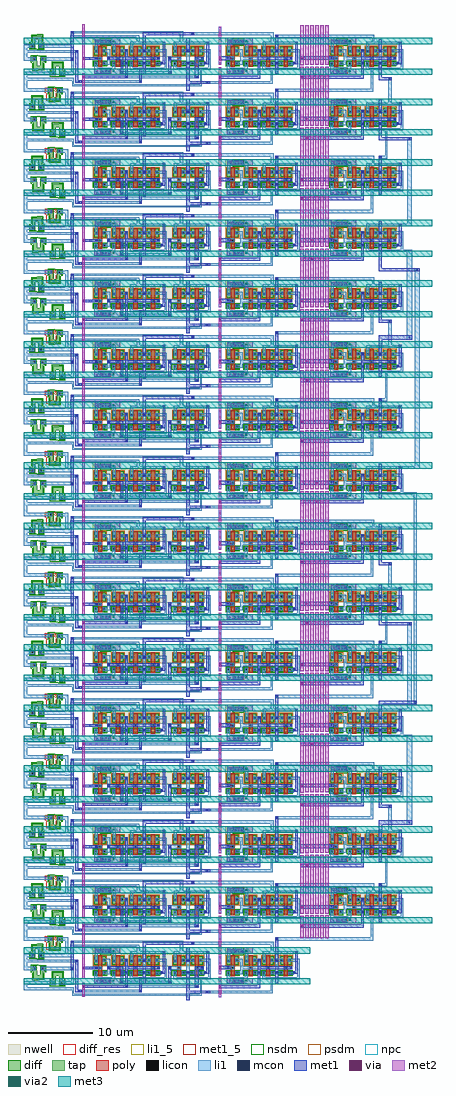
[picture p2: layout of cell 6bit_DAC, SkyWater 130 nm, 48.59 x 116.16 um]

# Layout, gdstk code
from math import pi, radians
import gdstk
lib = gdstk.Library(unit=1e-6, precision=1e-09)
def R(c, l, rs):  # rectangles x0, y0, x1, y1
    for r in rs: c.add(gdstk.rectangle(r[:2], r[2:], *l))
def A(c, l, x, y, w, h, nx, ny, dx, dy):  # array of equal rectangles
    R(c, l, [(x+i*dx, y+j*dy, x+i*dx+w, y+j*dy+h) for i in range(nx) for j in range(ny)])
nwell = (64, 20)
diff_res = (65, 13)
diff = (65, 20)
tap = (65, 44)
poly = (66, 20)
licon = (66, 44)
li1_5 = (67, 5)
li1 = (67, 20)
mcon = (67, 44)
met1_5 = (68, 5)
met1 = (68, 20)
via = (68, 44)
met2 = (69, 20)
via2 = (69, 44)
met3 = (70, 20)
nsdm = (93, 44)
psdm = (94, 20)
npc = (95, 20)

switchn = lib.new_cell('switchn')
R(switchn, nwell, [(-0.19,0,7.92,1.5), (-0.19,1.5,3.08,2.24)])
R(switchn, diff, [(-0.04,-1.01,1.39,-0.59), (2.09,-1.01,3.52,-0.59), (4.17,-1.01,5.6,-0.59), (6.3,-1.01,7.73,-0.59), (0.01,0.18,1.37,1.18), (2.14,0.18,3.5,1.18), (4.22,0.18,5.58,1.18), (6.32,0.18,7.68,0.87), (6.32,0.87,7.69,1.18)])
R(switchn, tap, [(0.81,-2.01,1.92,-1.42), (0.82,1.46,1.92,2.05)])
A(switchn, poly, 2.58, -1.17, 0.5, 2.48, 3, 1, 2.08, 0)
R(switchn, poly, [(0.45,-1.17,0.95,1.31)])
R(switchn, licon, [(1.275,-1.795,1.445,-1.625), (0.085,-0.875,0.255,-0.705), (2.215,-0.875,2.385,-0.705), (4.295,-0.875,4.465,-0.705), (7.435,-0.875,7.605,-0.705), (1.115,-0.835,1.285,-0.665), (3.245,-0.835,3.415,-0.665), (5.325,-0.835,5.495,-0.665), (6.405,-0.835,6.575,-0.665), (2.725,-0.315,2.895,-0.145), (6.965,-0.295,7.135,-0.125), (0.595,-0.285,0.765,-0.115), (4.815,-0.265,4.985,-0.095), (0.145,0.615,0.315,0.785), (1.105,0.615,1.275,0.785), (2.275,0.615,2.445,0.785), (3.235,0.615,3.405,0.785), (4.355,0.615,4.525,0.785), (5.315,0.615,5.485,0.785), (6.415,0.615,6.585,0.785), (7.375,0.615,7.545,0.785), (1.3,1.655,1.47,1.825)])
R(switchn, li1_5, [(5.79,-1.48,6.18,-1.45), (5.83,0.07,6.05,0.22), (5.77,1.64,6.16,1.67)])
R(switchn, li1, [(0.81,-2.01,1.92,-1.5), (4.2,-1.55,8.64,-1.29), (8.37,-1.55,8.64,0.51), (-0.01,-1.5,0.36,-0.97), (-0.01,-1.5,2.49,-1.28), (4.2,-1.29,4.57,-0.97), (2.12,-1.28,2.49,-0.97), (7.33,-1.01,7.97,-0.88), (-0.02,-0.97,0.36,-0.6), (2.11,-0.97,2.49,-0.6), (4.19,-0.97,4.57,-0.6), (1.02,-0.93,1.87,-0.59), (3.15,-0.93,3.99,-0.59), (5.23,-0.93,6.67,-0.59), (5.77,-0.93,6.13,0.9), (7.33,-0.88,8.2,-0.63), (-0.01,-0.6,0.36,-0.59), (2.12,-0.6,2.49,-0.59), (1.56,-0.59,1.87,-0.38), (-0.145,-0.385,0.89,0.055), (1.56,-0.38,5.15,-0.02), (6.8,-0.38,7.8,-0.01), (1.56,-0.02,1.87,0.51), (0.04,0.5,0.41,1.59), (2.17,0.5,2.54,1.59), (4.25,0.5,4.62,1.76), (1,0.51,1.87,0.9), (5.21,0.51,6.69,0.9), (7.27,0.51,8.65,0.87), (3.13,0.53,4,0.9), (0.82,1.46,1.92,1.59), (4.25,1.51,8.46,1.76), (0.04,1.59,2.54,1.83), (0.82,1.83,1.92,2.05)])
R(switchn, mcon, [(0.9,-1.825,1.07,-1.655), (1.67,-1.825,1.84,-1.655), (3.74,-0.845,3.91,-0.675), (5.85,-0.845,6.02,-0.675), (7.985,-0.815,8.155,-0.645), (7.515,-0.255,7.685,-0.085), (0.025,-0.23,0.195,-0.06), (5.875,0.63,6.045,0.8), (3.76,0.645,3.93,0.815), (8.195,1.575,8.365,1.745), (0.92,1.66,1.09,1.83), (1.65,1.675,1.82,1.845)])
R(switchn, met1_5, [(1.19,-1.98,1.53,-1.92), (1.22,1.95,1.5,2)])
R(switchn, met1, [(-3.6,-2.635,3.985,-2.25), (3.67,-2.635,3.985,-0.36), (-0.01,-2.01,1.92,-1.42), (5.77,-2,6.13,-0.59), (3.67,-0.93,3.99,-0.38), (7.9,-0.9,8.46,-0.58), (8.12,-0.58,8.46,1.48), (-3.6,-0.385,0.42,0.055), (3.67,-0.38,7.79,-0.02), (3.67,-0.02,4,0.9), (7.37,-0.02,7.77,-0.01), (5.77,0.515,6.13,2.085), (0.04,1.46,1.92,2.05), (8.12,1.48,8.46,1.81)])
R(switchn, via, [(0.25,-1.83,0.4,-1.68), (0.37,1.7,0.52,1.85)])
A(switchn, met2, -2.4, -0.96, 0.4, 4.73, 4, 1, 0.6, 0)
R(switchn, met2, [(-3.6,-3.9,-3.2,-1.21), (-3,-3.9,-2.6,-1.19), (-2.4,-3.9,-2,-1.19), (-1.8,-3.9,-1.4,-1.185), (-1.2,-3.9,-0.8,-1.175), (-0.6,-3.9,-0.2,-1.165), (-0.01,-2.135,3.08,-1.42), (-3.6,-0.99,-3.2,3.77), (-3,-0.975,-2.6,3.77), (0.04,1.46,3.08,2.24)])
R(switchn, via2, [(2.205,-1.805,2.405,-1.605), (2.205,1.735,2.405,1.935)])
R(switchn, met3, [(-4,-2.135,12.1,-1.42), (-4,1.465,12.1,2.235)])
R(switchn, nsdm, [(-0.165,-1.135,1.515,-0.465), (1.965,-1.135,3.645,-0.465), (4.045,-1.135,5.725,-0.465), (6.175,-1.135,7.855,-0.465), (0.695,1.335,2.045,2.175)])
R(switchn, psdm, [(0.685,-2.135,2.045,-1.295), (-0.115,0.055,1.495,1.305), (2.015,0.055,3.625,1.305), (4.095,0.055,5.705,1.305), (6.195,0.055,7.805,0.745), (6.195,0.745,7.815,1.305)])
R(switchn, npc, [(2.625,-0.415,2.995,-0.045), (6.865,-0.395,7.235,-0.025), (0.495,-0.385,0.865,-0.015), (4.715,-0.365,5.085,0.005)])
switchn.add(gdstk.Label('vrefh', (5.965,1.655), layer=67, texttype=5))
switchn.add(gdstk.Label('vrefl', (5.985,-1.465), layer=67, texttype=5))
switchn.add(gdstk.Label('vout', (5.94,0.145), layer=67, texttype=5))
switchn.add(gdstk.Label('Vout', (5.925,-2.202), layer=68, texttype=5))
switchn.add(gdstk.Label('Vout', (5.839,2.084), layer=68, texttype=5))
switchn.add(gdstk.Label('vdd', (1.36,1.975), layer=68, texttype=5))
switchn.add(gdstk.Label('gnd', (1.36,-1.95), layer=68, texttype=5))
switchn.add(gdstk.Label('D2', (-3.498,3.7), layer=69, texttype=5))
switchn.add(gdstk.Label('D3', (-2.814,3.72), layer=69, texttype=5))
switchn.add(gdstk.Label('D4', (-2.276,3.725), layer=69, texttype=5))
switchn.add(gdstk.Label('D5', (-1.617,3.745), layer=69, texttype=5))
switchn.add(gdstk.Label('D6', (-1.085,3.73), layer=69, texttype=5))
switchn.add(gdstk.Label('D7', (-0.441,3.735), layer=69, texttype=5))

resistor_h = lib.new_cell('resistor_h')
R(resistor_h, diff_res, [(-9.935,-1.15,-9.895,0.41), (-9.895,-1.15,-9.715,0.03), (-9.715,-1.15,-9.505,0.41), (-9.505,-1.15,-9.495,-0.15), (-9.495,-1.14,-9.135,-0.72), (-9.135,-1.14,-8.905,0.37), (-8.905,-1.14,-8.755,0.01), (-10.095,-0.2,-9.935,0.41), (-8.755,-0.2,-8.725,0.01), (-8.725,-0.2,-8.535,0.37), (-8.905,0.19,-8.725,0.37), (-9.895,0.21,-9.715,0.41)])
R(resistor_h, diff, [(-9.48,-1.175,-9.05,0.385), (-9.05,-1.175,-9.04,-0.175), (-9.04,-1.165,-8.68,-0.745), (-8.68,-1.165,-8.3,0.345), (-9.64,-0.225,-9.48,0.385), (-8.3,-0.225,-8.08,0.345)])
R(resistor_h, licon, [(-8.445,-0.01,-8.275,0.16), (-9.435,0.01,-9.265,0.18)])
R(resistor_h, li1, [(-7.66,-2.09,-7.32,0.305), (-8.55,-0.105,-7.31,0.295), (-12.585,-0.08,-9.205,0.32), (-12.585,-0.08,-12.16,1.59)])
R(resistor_h, nsdm, [(-9.605,-1.3,-8.925,0.51), (-8.925,-1.3,-8.915,0.47), (-8.915,-1.29,-8.175,0.47), (-9.765,-0.35,-9.605,0.51), (-8.175,-0.35,-7.955,0.47)])
resistor_h.add(gdstk.Label('b', (-8.34,0.075), layer=67, texttype=5))
resistor_h.add(gdstk.Label('a', (-9.36,0.095), layer=67, texttype=5))

switch2n = lib.new_cell('switch2n')
R(switch2n, nwell, [(-0.19,0,13.12,1.5), (-0.19,1.5,3.08,2.24)])
R(switch2n, diff, [(-0.04,-1.01,1.39,-0.59), (2.09,-1.01,3.52,-0.59), (4.17,-1.01,5.6,-0.59), (4.17,-1.01,5.6,-0.59), (6.3,-1.01,7.73,-0.59), (6.3,-1.01,7.73,-0.59), (9.37,-1.01,10.8,-0.59), (9.37,-1.01,10.8,-0.59), (11.5,-1.01,12.93,-0.59), (11.5,-1.01,12.93,-0.59), (0.01,0.18,1.37,1.18), (2.14,0.18,3.5,1.18), (4.22,0.18,5.58,1.18), (4.22,0.18,5.58,1.18), (6.32,0.18,7.68,0.87), (6.32,0.18,7.68,0.87), (9.42,0.18,10.78,1.18), (9.42,0.18,10.78,1.18), (11.52,0.18,12.88,0.87), (11.52,0.18,12.88,0.87), (6.32,0.87,7.69,1.18), (6.32,0.87,7.69,1.18), (11.52,0.87,12.89,1.18), (11.52,0.87,12.89,1.18)])
R(switch2n, tap, [(0.81,-2.01,1.92,-1.42), (0.82,1.46,1.92,2.05)])
R(switch2n, poly, [(0.45,-1.17,0.95,1.31), (2.58,-1.17,3.08,1.31), (4.66,-1.17,5.16,1.31), (4.66,-1.17,5.16,1.31), (6.74,-1.17,7.24,1.31), (6.74,-1.17,7.24,1.31), (9.86,-1.17,10.36,1.31), (9.86,-1.17,10.36,1.31), (11.94,-1.17,12.44,1.31), (11.94,-1.17,12.44,1.31)])
R(switch2n, licon, [(1.275,-1.795,1.445,-1.625), (0.085,-0.875,0.255,-0.705), (2.215,-0.875,2.385,-0.705), (4.295,-0.875,4.465,-0.705), (4.295,-0.875,4.465,-0.705), (7.435,-0.875,7.605,-0.705), (7.435,-0.875,7.605,-0.705), (9.495,-0.875,9.665,-0.705), (9.495,-0.875,9.665,-0.705), (12.635,-0.875,12.805,-0.705), (12.635,-0.875,12.805,-0.705), (1.115,-0.835,1.285,-0.665), (3.245,-0.835,3.415,-0.665), (5.325,-0.835,5.495,-0.665), (5.325,-0.835,5.495,-0.665), (6.405,-0.835,6.575,-0.665), (6.405,-0.835,6.575,-0.665), (10.525,-0.835,10.695,-0.665), (10.525,-0.835,10.695,-0.665), (11.605,-0.835,11.775,-0.665), (11.605,-0.835,11.775,-0.665), (2.725,-0.315,2.895,-0.145), (6.965,-0.295,7.135,-0.125), (6.965,-0.295,7.135,-0.125), (12.165,-0.295,12.335,-0.125), (12.165,-0.295,12.335,-0.125), (0.595,-0.285,0.765,-0.115), (4.815,-0.265,4.985,-0.095), (4.815,-0.265,4.985,-0.095), (10.015,-0.265,10.185,-0.095), (10.015,-0.265,10.185,-0.095), (0.145,0.615,0.315,0.785), (1.105,0.615,1.275,0.785), (2.275,0.615,2.445,0.785), (3.235,0.615,3.405,0.785), (4.355,0.615,4.525,0.785), (4.355,0.615,4.525,0.785), (5.315,0.615,5.485,0.785), (5.315,0.615,5.485,0.785), (6.415,0.615,6.585,0.785), (6.415,0.615,6.585,0.785), (7.375,0.615,7.545,0.785), (7.375,0.615,7.545,0.785), (9.555,0.615,9.725,0.785), (9.555,0.615,9.725,0.785), (10.515,0.615,10.685,0.785), (10.515,0.615,10.685,0.785), (11.615,0.615,11.785,0.785), (11.615,0.615,11.785,0.785), (12.575,0.615,12.745,0.785), (12.575,0.615,12.745,0.785), (1.3,1.66,1.47,1.83)])
R(switch2n, li1_5, [(6.215,-1.48,6.605,-1.45), (6.215,-1.48,6.605,-1.45), (11.415,-1.48,11.805,-1.45), (11.415,-1.48,11.805,-1.45), (5.83,0.07,6.05,0.22), (5.83,0.07,6.05,0.22), (11.03,0.07,11.25,0.22), (11.03,0.07,11.25,0.22), (5.77,1.64,6.16,1.67), (5.77,1.64,6.16,1.67), (10.97,1.64,11.36,1.67), (10.97,1.64,11.36,1.67)])
R(switch2n, li1, [(3.68,-2.585,12.435,-2.235), (0.81,-2.01,1.92,-1.5), (4.2,-1.55,8.64,-1.29), (4.2,-1.55,8.64,-1.29), (8.37,-1.55,8.64,0.51), (8.37,-1.55,8.64,0.51), (9.4,-1.55,13.84,-1.29), (9.4,-1.55,13.84,-1.29), (13.57,-1.55,13.84,0.51), (13.57,-1.55,13.84,0.51), (-0.01,-1.5,0.36,-0.97), (-0.01,-1.5,2.49,-1.28), (4.2,-1.29,4.57,-0.97), (4.2,-1.29,4.57,-0.97), (9.4,-1.29,9.77,-0.97), (9.4,-1.29,9.77,-0.97), (2.12,-1.28,2.49,-0.97), (7.33,-1.01,7.97,-0.88), (7.33,-1.01,7.97,-0.88), (12.53,-1.01,13.17,-0.88), (12.53,-1.01,13.17,-0.88), (-0.02,-0.97,0.36,-0.6), (2.11,-0.97,2.49,-0.6), (4.19,-0.97,4.57,-0.6), (4.19,-0.97,4.57,-0.6), (9.39,-0.97,9.77,-0.6), (9.39,-0.97,9.77,-0.6), (1.02,-0.93,1.87,-0.59), (3.15,-0.93,3.99,-0.59), (5.23,-0.93,6.67,-0.59), (5.23,-0.93,6.67,-0.59), (5.77,-0.93,6.13,0.9), (5.77,-0.93,6.13,0.9), (10.43,-0.93,11.87,-0.59), (10.43,-0.93,11.87,-0.59), (10.97,-0.93,11.33,0.9), (10.97,-0.93,11.33,0.9), (7.33,-0.88,8.2,-0.63), (7.33,-0.88,8.2,-0.63), (12.53,-0.88,13.4,-0.63), (12.53,-0.88,13.4,-0.63), (-0.01,-0.6,0.36,-0.59), (2.12,-0.6,2.49,-0.59), (1.56,-0.59,1.87,-0.38), (8.81,-0.425,10.34,0.015), (-0.6,-0.38,0.89,-0.03), (1.56,-0.38,5.15,-0.02), (6.8,-0.38,7.8,-0.01), (6.8,-0.38,7.8,-0.01), (12,-0.38,13,-0.01), (12,-0.38,13,-0.01), (1.56,-0.02,1.87,0.51), (0.04,0.5,0.41,1.59), (2.17,0.5,2.54,1.59), (4.25,0.5,4.62,1.76), (4.25,0.5,4.62,1.76), (9.45,0.5,9.82,1.76), (9.45,0.5,9.82,1.76), (1,0.51,1.87,0.9), (5.21,0.51,6.69,0.9), (5.21,0.51,6.69,0.9), (7.27,0.51,8.65,0.87), (7.27,0.51,8.65,0.87), (10.41,0.51,11.89,0.9), (10.41,0.51,11.89,0.9), (12.47,0.51,13.85,0.87), (12.47,0.51,13.85,0.87), (3.13,0.53,4,0.9), (0.82,1.46,1.92,1.59), (4.25,1.51,8.41,1.76), (4.25,1.51,8.41,1.76), (9.45,1.51,13.61,1.76), (9.45,1.51,13.61,1.76), (0.04,1.59,2.54,1.83), (0.82,1.83,1.92,2.05)])
R(switch2n, mcon, [(12.14,-2.49,12.31,-2.32), (3.75,-2.485,3.92,-2.315), (3.22,-1.97,3.39,-1.8), (8.87,-1.955,9.04,-1.785), (0.9,-1.825,1.07,-1.655), (1.67,-1.825,1.84,-1.655), (5.86,-0.85,6.03,-0.68), (5.86,-0.85,6.03,-0.68), (11.06,-0.85,11.23,-0.68), (11.06,-0.85,11.23,-0.68), (3.74,-0.845,3.91,-0.675), (7.985,-0.815,8.155,-0.645), (7.985,-0.815,8.155,-0.645), (13.185,-0.815,13.355,-0.645), (13.185,-0.815,13.355,-0.645), (1.65,-0.285,1.82,-0.115), (0.12,-0.27,0.29,-0.1), (7.515,-0.255,7.685,-0.085), (7.515,-0.255,7.685,-0.085), (12.715,-0.255,12.885,-0.085), (12.715,-0.255,12.885,-0.085), (5.865,0.63,6.035,0.8), (5.865,0.63,6.035,0.8), (11.065,0.63,11.235,0.8), (11.065,0.63,11.235,0.8), (3.76,0.645,3.93,0.815), (8.195,1.575,8.365,1.745), (8.195,1.575,8.365,1.745), (13.395,1.575,13.565,1.745), (13.395,1.575,13.565,1.745), (0.92,1.66,1.09,1.83), (1.65,1.66,1.82,1.83)])
R(switch2n, met1_5, [(1.19,-1.98,1.53,-1.92), (1.22,1.95,1.5,2)])
R(switch2n, met1, [(-1.46,-2.585,3.99,-2.235), (3.68,-2.585,3.99,-0.555), (11.94,-2.575,12.435,-0.01), (5.77,-2.16,6.13,-0.59), (10.97,-2.16,11.33,-0.59), (3.15,-2.045,3.445,-0.02), (-0.01,-2.01,1.92,-1.42), (5.77,-2,6.13,-0.59), (10.97,-2,11.33,-0.59), (3.67,-0.93,3.99,-0.38), (7.9,-0.9,8.46,-0.58), (7.9,-0.9,8.46,-0.58), (13.1,-0.9,13.66,-0.58), (13.1,-0.9,13.66,-0.58), (8.12,-0.58,8.46,1.48), (8.12,-0.58,8.46,1.48), (13.32,-0.58,13.66,1.48), (13.32,-0.58,13.66,1.48), (11.94,-0.395,13.005,0.015), (-1.46,-0.38,0.42,-0.03), (1.56,-0.38,3.445,-0.02), (3.67,-0.38,7.79,-0.02), (3.67,-0.02,4,0.9), (7.37,-0.02,7.77,-0.01), (7.37,-0.02,7.77,-0.01), (5.77,0.51,6.13,2.24), (5.77,0.51,6.13,2.24), (10.97,0.51,11.33,2.24), (10.97,0.51,11.33,2.24), (0.04,1.46,1.92,2.05), (8.12,1.48,8.46,1.81), (8.12,1.48,8.46,1.81), (13.32,1.48,13.66,1.81), (13.32,1.48,13.66,1.81)])
R(switch2n, via, [(-1.37,-2.485,-1.22,-2.335), (0.25,-1.83,0.4,-1.68), (-1.36,-0.29,-1.21,-0.14), (0.37,1.7,0.52,1.85)])
R(switch2n, met2, [(-1.46,-3.6,-1.13,-1.985), (-0.01,-2.135,3.08,-1.42), (-1.46,-1.5,-1.13,3.9), (0.04,1.46,3.08,2.24)])
R(switch2n, via2, [(2.2,-1.8,2.4,-1.6), (2.2,1.73,2.4,1.93)])
R(switch2n, met3, [(-2.575,-2.135,14,-1.42), (-2.575,1.465,14,2.235)])
R(switch2n, nsdm, [(-0.165,-1.135,1.515,-0.465), (1.965,-1.135,3.645,-0.465), (4.045,-1.135,5.725,-0.465), (4.045,-1.135,5.725,-0.465), (6.175,-1.135,7.855,-0.465), (6.175,-1.135,7.855,-0.465), (9.245,-1.135,10.925,-0.465), (9.245,-1.135,10.925,-0.465), (11.375,-1.135,13.055,-0.465), (11.375,-1.135,13.055,-0.465), (0.695,1.335,2.045,2.175)])
R(switch2n, psdm, [(0.685,-2.135,2.045,-1.295), (-0.115,0.055,1.495,1.305), (2.015,0.055,3.625,1.305), (4.095,0.055,5.705,1.305), (4.095,0.055,5.705,1.305), (6.195,0.055,7.805,0.745), (6.195,0.055,7.805,0.745), (9.295,0.055,10.905,1.305), (9.295,0.055,10.905,1.305), (11.395,0.055,13.005,0.745), (11.395,0.055,13.005,0.745), (6.195,0.745,7.815,1.305), (6.195,0.745,7.815,1.305), (11.395,0.745,13.015,1.305), (11.395,0.745,13.015,1.305)])
R(switch2n, npc, [(2.625,-0.415,2.995,-0.045), (6.865,-0.395,7.235,-0.025), (6.865,-0.395,7.235,-0.025), (12.065,-0.395,12.435,-0.025), (12.065,-0.395,12.435,-0.025), (0.495,-0.385,0.865,-0.015), (4.715,-0.365,5.085,0.005), (4.715,-0.365,5.085,0.005), (9.915,-0.365,10.285,0.005), (9.915,-0.365,10.285,0.005)])
switch2n.add(gdstk.Label('vrefh', (11.165,1.655), layer=67, texttype=5))
switch2n.add(gdstk.Label('vrefl', (11.61,-1.465), layer=67, texttype=5))
switch2n.add(gdstk.Label('vout', (11.14,0.145), layer=67, texttype=5))
switch2n.add(gdstk.Label('vout', (11.14,0.145), layer=67, texttype=5))
switch2n.add(gdstk.Label('vrefl', (11.61,-1.465), layer=67, texttype=5))
switch2n.add(gdstk.Label('vrefh', (11.165,1.655), layer=67, texttype=5))
switch2n.add(gdstk.Label('vrefh', (5.965,1.655), layer=67, texttype=5))
switch2n.add(gdstk.Label('vrefl', (6.41,-1.465), layer=67, texttype=5))
switch2n.add(gdstk.Label('vout', (5.94,0.145), layer=67, texttype=5))
switch2n.add(gdstk.Label('vout', (5.94,0.145), layer=67, texttype=5))
switch2n.add(gdstk.Label('vrefl', (6.41,-1.465), layer=67, texttype=5))
switch2n.add(gdstk.Label('vrefh', (5.965,1.655), layer=67, texttype=5))
switch2n.add(gdstk.Label('Vout', (11.127,2.295), layer=68, texttype=5))
switch2n.add(gdstk.Label('Vout', (11.14,-1.971), layer=68, texttype=5))
switch2n.add(gdstk.Label('Vout', (11.14,-1.971), layer=68, texttype=5))
switch2n.add(gdstk.Label('Vout', (11.127,2.295), layer=68, texttype=5))
switch2n.add(gdstk.Label('Vout', (5.927,2.295), layer=68, texttype=5))
switch2n.add(gdstk.Label('Vout', (5.94,-1.971), layer=68, texttype=5))
switch2n.add(gdstk.Label('vdd', (1.36,1.975), layer=68, texttype=5))
switch2n.add(gdstk.Label('gnd', (1.36,-1.95), layer=68, texttype=5))
switch2n.add(gdstk.Label('Vout', (5.94,-1.971), layer=68, texttype=5))
switch2n.add(gdstk.Label('Vout', (5.927,2.295), layer=68, texttype=5))
switch2n.add(gdstk.Label('D0', (-1.398,3.184), layer=69, texttype=5))
switch2n.add(gdstk.Label('D0', (-1.385,-1.91), layer=69, texttype=5))

switch2 = lib.new_cell('switch2')
R(switch2, nwell, [(-2.69,0,5.42,1.5), (-2.69,1.5,0.58,2.24)])
R(switch2, diff, [(-2.54,-1.01,-1.11,-0.59), (-0.41,-1.01,1.02,-0.59), (1.67,-1.01,3.1,-0.59), (3.8,-1.01,5.23,-0.59), (-2.49,0.18,-1.13,1.18), (-0.36,0.18,1,1.18), (1.72,0.18,3.08,1.18), (3.82,0.18,5.18,0.87), (3.82,0.87,5.19,1.18)])
R(switch2, tap, [(-1.69,-2.01,-0.58,-1.42), (-1.68,1.46,-0.58,2.05)])
A(switch2, poly, 0.08, -1.17, 0.5, 2.48, 3, 1, 2.08, 0)
R(switch2, poly, [(-2.05,-1.17,-1.55,1.31)])
R(switch2, licon, [(-1.225,-1.795,-1.055,-1.625), (-2.415,-0.875,-2.245,-0.705), (-0.285,-0.875,-0.115,-0.705), (1.795,-0.875,1.965,-0.705), (4.935,-0.875,5.105,-0.705), (-1.385,-0.835,-1.215,-0.665), (0.745,-0.835,0.915,-0.665), (2.825,-0.835,2.995,-0.665), (3.905,-0.835,4.075,-0.665), (0.225,-0.315,0.395,-0.145), (4.465,-0.295,4.635,-0.125), (-1.905,-0.285,-1.735,-0.115), (2.315,-0.265,2.485,-0.095), (-2.355,0.615,-2.185,0.785), (-1.395,0.615,-1.225,0.785), (-0.225,0.615,-0.055,0.785), (0.735,0.615,0.905,0.785), (1.855,0.615,2.025,0.785), (2.815,0.615,2.985,0.785), (3.915,0.615,4.085,0.785), (4.875,0.615,5.045,0.785), (-1.2,1.66,-1.03,1.83)])
R(switch2, li1_5, [(3.29,-1.48,3.68,-1.45), (3.33,0.07,3.55,0.22), (3.27,1.64,3.66,1.67)])
R(switch2, li1, [(-1.69,-2.01,-0.58,-1.5), (1.7,-1.55,6.14,-1.29), (5.87,-1.55,6.14,0.51), (-2.51,-1.5,-0.01,-1.28), (-2.51,-1.5,-2.14,-0.97), (1.7,-1.29,2.07,-0.97), (-0.38,-1.28,-0.01,-0.97), (4.83,-1.01,5.47,-0.88), (-2.52,-0.97,-2.14,-0.6), (-0.39,-0.97,-0.01,-0.6), (1.69,-0.97,2.07,-0.6), (-1.48,-0.93,-0.63,-0.59), (0.65,-0.93,1.49,-0.59), (2.73,-0.93,4.17,-0.59), (3.27,-0.93,3.63,0.9), (4.83,-0.88,5.7,-0.63), (-2.51,-0.6,-2.14,-0.59), (-0.38,-0.6,-0.01,-0.59), (-0.94,-0.59,-0.63,-0.38), (-2.645,-0.385,-1.61,0.055), (-0.94,-0.38,2.65,-0.02), (4.3,-0.38,5.3,-0.01), (-0.94,-0.02,-0.63,0.51), (-2.46,0.5,-2.09,1.59), (-0.33,0.5,0.04,1.59), (1.75,0.5,2.12,1.76), (-1.5,0.51,-0.63,0.9), (2.71,0.51,4.19,0.9), (4.77,0.51,6.15,0.87), (0.63,0.53,1.5,0.9), (-1.68,1.46,-0.58,1.59), (1.75,1.51,5.91,1.76), (-2.46,1.59,0.04,1.83), (-1.68,1.83,-0.58,2.05)])
R(switch2, mcon, [(-1.6,-1.825,-1.43,-1.655), (-0.83,-1.825,-0.66,-1.655), (1.24,-0.845,1.41,-0.675), (3.35,-0.845,3.52,-0.675), (5.485,-0.815,5.655,-0.645), (5.015,-0.255,5.185,-0.085), (-2.475,-0.23,-2.305,-0.06), (3.37,0.63,3.54,0.8), (1.26,0.645,1.43,0.815), (5.695,1.575,5.865,1.745), (-1.58,1.66,-1.41,1.83), (-0.85,1.66,-0.68,1.83)])
R(switch2, met1_5, [(-1.31,-1.98,-0.97,-1.92), (-1.28,1.95,-1,2)])
R(switch2, met1, [(-3.5,-2.635,1.495,-2.25), (1.17,-2.635,1.485,-0.36), (-2.51,-2.01,-0.58,-1.42), (3.27,-2,3.63,-0.59), (1.17,-0.93,1.49,-0.38), (5.4,-0.9,5.96,-0.58), (5.62,-0.58,5.96,1.48), (-3.5,-0.385,-2.08,0.055), (1.17,-0.38,5.29,-0.02), (1.17,-0.02,1.5,0.9), (4.87,-0.02,5.27,-0.01), (3.27,0.51,3.63,2.08), (-2.46,1.46,-0.58,2.05), (5.62,1.48,5.96,1.81)])
R(switch2, via, [(-2.25,-1.83,-2.1,-1.68), (-2.13,1.7,-1.98,1.85)])
R(switch2, met2, [(-3.5,-3.7,-3.2,-1.235), (-2.51,-2.135,0.58,-1.42), (-3.5,-0.96,-3.2,3.6), (-2.46,1.46,0.58,2.24)])
R(switch2, via2, [(-0.3,-1.8,-0.1,-1.6), (-0.3,1.74,-0.1,1.94)])
R(switch2, met3, [(-4.5,-2.135,7.425,-1.42), (-4.5,1.465,7.425,2.235)])
R(switch2, nsdm, [(-2.665,-1.135,-0.985,-0.465), (-0.535,-1.135,1.145,-0.465), (1.545,-1.135,3.225,-0.465), (3.675,-1.135,5.355,-0.465), (-1.805,1.335,-0.455,2.175)])
R(switch2, psdm, [(-1.815,-2.135,-0.455,-1.295), (-2.615,0.055,-1.005,1.305), (-0.485,0.055,1.125,1.305), (1.595,0.055,3.205,1.305), (3.695,0.055,5.305,0.745), (3.695,0.745,5.315,1.305)])
R(switch2, npc, [(0.125,-0.415,0.495,-0.045), (4.365,-0.395,4.735,-0.025), (-2.005,-0.385,-1.635,-0.015), (2.215,-0.365,2.585,0.005)])
switch2.add(gdstk.Label('vout', (3.44,0.145), layer=67, texttype=5))
switch2.add(gdstk.Label('vrefl', (3.485,-1.465), layer=67, texttype=5))
switch2.add(gdstk.Label('vrefh', (3.465,1.655), layer=67, texttype=5))
switch2.add(gdstk.Label('gnd', (-1.14,-1.95), layer=68, texttype=5))
switch2.add(gdstk.Label('vdd', (-1.14,1.975), layer=68, texttype=5))
switch2.add(gdstk.Label('Vout', (3.339,2.084), layer=68, texttype=5))
switch2.add(gdstk.Label('Vout', (3.425,-2.202), layer=68, texttype=5))
switch2.add(gdstk.Label('D1', (-3.456,2.24), layer=69, texttype=5))

resistor = lib.new_cell('resistor')
R(resistor, diff_res, [(-0.68,-1.03,-0.07,-0.87), (-0.68,-0.87,0.88,-0.83), (-0.68,-0.83,-0.48,-0.65), (-0.3,-0.83,0.88,-0.65), (-0.68,-0.65,0.88,-0.44), (-0.12,-0.44,0.88,-0.43), (0.45,-0.43,0.87,-0.07), (-0.64,-0.07,0.87,0.16), (-0.64,0.16,-0.46,0.34), (-0.28,0.16,0.87,0.31), (-0.28,0.31,-0.07,0.34), (-0.64,0.34,-0.07,0.53)])
R(resistor, diff, [(-0.68,-1.03,-0.07,-0.87), (-0.68,-0.87,0.88,-0.44), (-0.12,-0.44,0.88,-0.43), (0.45,-0.43,0.87,-0.07), (-0.64,-0.07,0.87,0.31), (-0.64,0.31,-0.07,0.53)])
R(resistor, licon, [(-0.475,-0.825,-0.305,-0.655), (-0.455,0.165,-0.285,0.335)])
R(resistor, li1, [(-0.59,-2,-0.19,-0.56), (-0.59,0.06,-0.19,1.3)])
R(resistor, nsdm, [(-0.805,-1.155,0.055,-0.995), (-0.805,-0.995,1.005,-0.315), (-0.765,-0.315,1.005,-0.305), (-0.765,-0.305,0.995,0.435), (-0.765,0.435,0.055,0.655)])
resistor.add(gdstk.Label('b', (-0.37,0.27), layer=67, texttype=5))
resistor.add(gdstk.Label('a', (-0.39,-0.75), layer=67, texttype=5))

resistor_3xh = lib.new_cell('resistor_3xh')
R(resistor_3xh, li1, [(-0.93,-5.46,-0.505,-4.405), (-0.93,-5.46,5,-5.13), (-0.93,-4.805,1.775,-4.405), (4.405,-4.805,5,-4.405), (4.735,-4.805,5,-2.68), (-0.93,-3.075,-0.505,-1.17), (2.005,-3.075,5,-2.675), (-0.93,-2.17,5.57,-1.88), (1.97,-1.57,5,-1.17), (4.59,-1.57,5,-0.275)])
resistor_3xh.add(gdstk.Reference(resistor, (1.07,-3.265), rotation=3*pi/2))
resistor_3xh.add(gdstk.Reference(resistor, (0.37,-0.98), rotation=pi/2))
resistor_3xh.add(gdstk.Reference(resistor, (2.825,-4.215), rotation=pi/2))
resistor_3xh.add(gdstk.Label('RH1', (4.42,-1.5), layer=67, texttype=5))
resistor_3xh.add(gdstk.Label('RL1', (4.01,-2.14), layer=67, texttype=5))
resistor_3xh.add(gdstk.Label('RH0', (4.02,-2.965), layer=67, texttype=5))
resistor_3xh.add(gdstk.Label('RL0', (4.055,-5.405), layer=67, texttype=5))

c_2bit_dac = lib.new_cell('2bit_DAC')
R(c_2bit_dac, li1, [(-12.35,-1.305,-12.16,-0.325), (-12.35,-1.305,3.105,-1.12), (2.91,-1.305,3.105,0.89), (3.54,-1.055,11.525,-0.73), (11.3,-1.045,11.525,0.885), (-11.66,-0.915,-4.08,-0.595), (-0.925,0.12,-0.515,0.475), (-6.565,0.145,-6.25,0.455), (-6.57,0.18,-0.565,0.44), (0.48,3.685,0.86,5.235), (11.305,3.685,11.655,5.105), (-4.68,3.69,-4.325,4.545), (-12.57,4.485,-4.33,4.73), (1.815,4.735,11.655,5.105), (-12.485,4.93,-12.09,5.23), (-12.485,5,0.86,5.235)])
R(c_2bit_dac, mcon, [(3.695,-0.97,3.865,-0.8), (-4.315,-0.84,-4.145,-0.67), (-11.595,-0.82,-11.425,-0.65), (-4.31,0.65,-4.14,0.82), (-12.415,1.84,-12.245,2.01), (-0.82,1.865,-0.65,2.035), (-11.845,2.69,-11.675,2.86), (1.915,4.83,2.085,5), (-12.41,5.015,-12.24,5.185)])
R(c_2bit_dac, met1, [(1.265,-1.84,1.625,0.415), (1.265,-1.055,4.065,-0.73), (-11.955,-0.915,-11.59,2.925), (-11.955,-0.915,-11.215,-0.595), (-4.38,-0.915,-4.08,0.885), (-0.895,0.18,-0.56,2.19), (-12.485,1.73,-12.16,5.235), (-3.935,4.205,-3.575,5.105), (-3.935,4.735,2.195,5.105)])
R(c_2bit_dac, via, [(5.14,-0.35,5.29,-0.2), (5.145,1.94,5.295,2.09)])
R(c_2bit_dac, met3, [(-18.09,0.04,-11.5,0.755), (-18.09,3.64,-11.81,4.41)])
c_2bit_dac.add(gdstk.Reference(switch2n, (-9.705,2.175)))
c_2bit_dac.add(gdstk.Reference(switch2, (8.575,2.175)))
c_2bit_dac.add(gdstk.Reference(resistor_3xh, (-17.16,4.805)))

c_3bit_dac = lib.new_cell('3bit_DAC')
R(c_3bit_dac, li1, [(17.265,-0.405,28.91,-0.005), (28.61,-0.405,28.91,2.495), (28.79,5.25,29.035,6.42), (17.275,6.025,29.035,6.42)])
R(c_3bit_dac, mcon, [(17.37,-0.3,17.54,-0.13), (17.365,6.13,17.535,6.3)])
R(c_3bit_dac, met1, [(17.275,-1.57,17.635,-0.005), (17.275,5.59,17.635,6.425)])
R(c_3bit_dac, via, [(20.36,1.27,20.51,1.42), (20.355,3.54,20.505,3.69)])
c_3bit_dac.add(gdstk.Reference(switchn, (23.83,3.785)))
c_3bit_dac.add(gdstk.Reference(resistor_h, (-0.075,-0.31)))
c_3bit_dac.add(gdstk.Reference(c_2bit_dac, (5.43,-5.625)))
c_3bit_dac.add(gdstk.Reference(c_2bit_dac, (5.43,1.605)))

c_4bit_dac = lib.new_cell('4bit_DAC')
R(c_4bit_dac, li1, [(17.6,2.13,18.59,2.46), (18.32,2.13,18.59,5.74), (18.68,8.54,19.11,11.84)])
R(c_4bit_dac, mcon, [(17.7,2.205,17.87,2.375), (18.8,11.58,18.97,11.75)])
R(c_4bit_dac, met1, [(17.6,1.005,17.96,2.46), (17.6,11.46,17.96,12.555), (17.6,11.46,19.11,11.84)])
R(c_4bit_dac, via, [(8.955,4.505,9.105,4.655), (8.945,6.795,9.095,6.945)])
c_4bit_dac.add(gdstk.Reference(c_3bit_dac, (-12,10.47)))
c_4bit_dac.add(gdstk.Reference(resistor_h, (-12.075,2.945)))
c_4bit_dac.add(gdstk.Reference(switchn, (11.83,7.03)))
c_4bit_dac.add(gdstk.Reference(c_3bit_dac, (-12,-3.96)))

c_5bit_dac = lib.new_cell('5bit_DAC')
R(c_5bit_dac, li1, [(6.245,-2.435,6.92,8.28), (5.53,8.02,6.92,8.28), (5.21,11.08,6.8,11.33), (6.28,11.08,6.805,21.675)])
R(c_5bit_dac, mcon, [(6.455,-2.245,6.625,-2.075), (6.46,21.395,6.63,21.565)])
R(c_5bit_dac, met1, [(2.93,-2.99,3.3,-1.935), (2.93,-2.435,6.92,-1.935), (2.93,21.27,3.29,22.29), (2.93,21.27,6.805,21.675)])
R(c_5bit_dac, via, [(-5.125,7.08,-4.975,7.23), (-5.125,9.32,-4.975,9.47)])
c_5bit_dac.add(gdstk.Reference(switchn, (-2.84,9.57)))
c_5bit_dac.add(gdstk.Reference(c_4bit_dac, (-14.67,16.98)))
c_5bit_dac.add(gdstk.Reference(resistor_h, (-26.745,5.495)))
c_5bit_dac.add(gdstk.Reference(c_4bit_dac, (-14.67,-11.88)))

c_6bit_dac = lib.new_cell('6bit_DAC')
R(c_6bit_dac, li1, [(6.585,-11.975,6.945,13.245), (5.03,12.985,6.945,13.245), (4.725,16.045,7.27,16.295), (6.685,16.045,7.27,39.9)])
R(c_6bit_dac, mcon, [(6.675,-11.855,6.845,-11.685), (6.86,39.66,7.03,39.83)])
R(c_6bit_dac, met1, [(2.43,-12.355,2.79,-11.6), (2.43,-11.975,6.945,-11.6), (2.43,39.55,2.79,41.695), (2.43,39.55,7.27,39.9)])
R(c_6bit_dac, via, [(-5.04,12.025,-4.89,12.175), (-5.015,14.295,-4.865,14.445)])
c_6bit_dac.add(gdstk.Reference(switchn, (-3.34,14.535)))
c_6bit_dac.add(gdstk.Reference(resistor_h, (-27.245,10.46)))
c_6bit_dac.add(gdstk.Reference(c_5bit_dac, (-0.5,-23.895)))
c_6bit_dac.add(gdstk.Reference(c_5bit_dac, (-0.5,33.825)))

lib.write_gds('6bit_DAC.gds')
